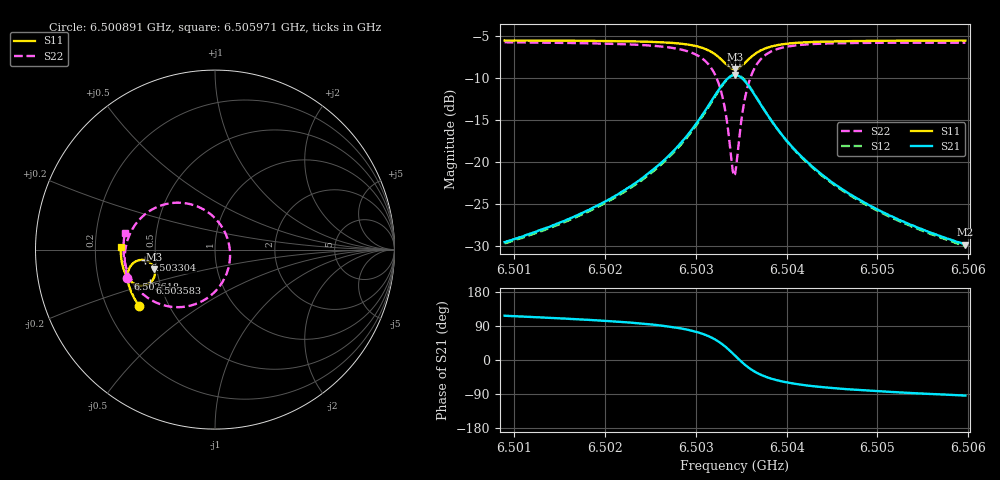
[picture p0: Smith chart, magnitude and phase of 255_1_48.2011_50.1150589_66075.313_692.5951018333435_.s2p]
#  HZ  S  RI  R  50.00
! Rohde & Schwarz Vector Network Analyzer
! Rohde-Schwarz,ZNB20-2Port,1311601062101988,3.16
! Created: UTC 3/20/2024, 11:47:31 AM
! freq[Hz]  re:S11  im:S11  re:S21  im:S21  re:S12  im:S12  re:S22  im:S22
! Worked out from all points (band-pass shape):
!   401 points, 6.500891 GHz to 6.505971 GHz, reference 50 ohm
!   highest |S21| = -9.69 dB at 6.503431 GHz (marker M1); lowest = -29.9 dB at 6.505971 GHz (marker M2)
!   |S21| within 3 dB of the highest: 6.503176 GHz to 6.503685 GHz (508.5 kHz wide, 0.00782 % of centre)
!   lowest |S11| = -9.0 dB at 6.503431 GHz (marker M3), VSWR 2.10, Z = 24.3 - j5.99 ohm
!   |S11| at or under -10 dB: nowhere
!   |S22| runs from -21.7 to -5.8 dB; largest |S21 - S12| = 0.011
!   S11 on the Smith chart (normalised r, x): 6.500891 GHz: 0.34, -0.29; 6.502618 GHz: 0.33, -0.15; 6.503304 GHz: 0.44, -0.06; 6.503583 GHz: 0.44, -0.20; 6.505971 GHz: 0.31, +0.01
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6.500891e9  -0.4236 -0.3127  -0.0149 0.0296  -0.0132 0.0298  -0.4883 -0.1594
6.5017419e9  -0.4604 -0.2505  -0.0143 0.0473  -0.0119 0.0468  -0.5024 -0.0698
6.5022118e9  -0.4773 -0.2091  -0.0115 0.0666  -0.00845 0.0654  -0.4997 -0.00382
6.5025928e9  -0.4865 -0.1675  -0.00258 0.0959  0.00101 0.0935  -0.4808 0.0714
6.5026182e9  -0.4869 -0.1642  -0.00144 0.0986  0.00226 0.0962  -0.4783 0.0777
6.5029103e9  -0.4831 -0.1195  0.0256 0.1422  0.0294 0.1378  -0.4219 0.1666
6.5031008e9  -0.462 -0.0814  0.0797 0.1841  0.082 0.1779  -0.319 0.239
6.5032151e9  -0.4298 -0.0608  0.1484 0.2016  0.1492 0.1953  -0.1949 0.2611
6.503304e9  -0.3896 -0.0591  0.2274 0.1853  0.2278 0.1802  -0.0582 0.2207
6.5033421e9  -0.3703 -0.0668  0.2639 0.1622  0.2645 0.1575  0.00157 0.1736
6.5034056e9  -0.3439 -0.0933  0.3111 0.0983  0.3137 0.0932  0.0727 0.0506
6.503431e9  -0.3375 -0.1079  0.3211 0.0662  0.3242 0.0604  0.0835 -0.00929
6.5034564e9  -0.3346 -0.1235  0.3245 0.0326  0.328 0.0256  0.0812 -0.0705
6.5035199e9  -0.3419 -0.1604  0.3063 -0.045  0.3083 -0.0548  0.0254 -0.2048
6.5035834e9  -0.363 -0.1862  0.2634 -0.0987  0.2623 -0.1098  -0.0711 -0.2868
6.503685e9  -0.4023 -0.2013  0.1891 -0.1345  0.1838 -0.1439  -0.2206 -0.3204
6.5038501e9  -0.4482 -0.1915  0.1079 -0.1315  0.1009 -0.1364  -0.3669 -0.2741
6.5040279e9  -0.4755 -0.1702  0.0636 -0.1113  0.0575 -0.1136  -0.4386 -0.2092
6.5042819e9  -0.4961 -0.1403  0.0338 -0.0872  0.029 -0.0876  -0.4817 -0.1373
6.5046756e9  -0.5121 -0.0995  0.0144 -0.0636  0.0113 -0.0631  -0.5043 -0.0605
6.5051328e9  -0.5211 -0.0575  0.00493 -0.0476  0.00279 -0.0469  -0.5103 0.00324
6.5059711e9  -0.5258 0.0134  -0.00217 -0.032  -0.0034 -0.0312  -0.5021 0.0914
